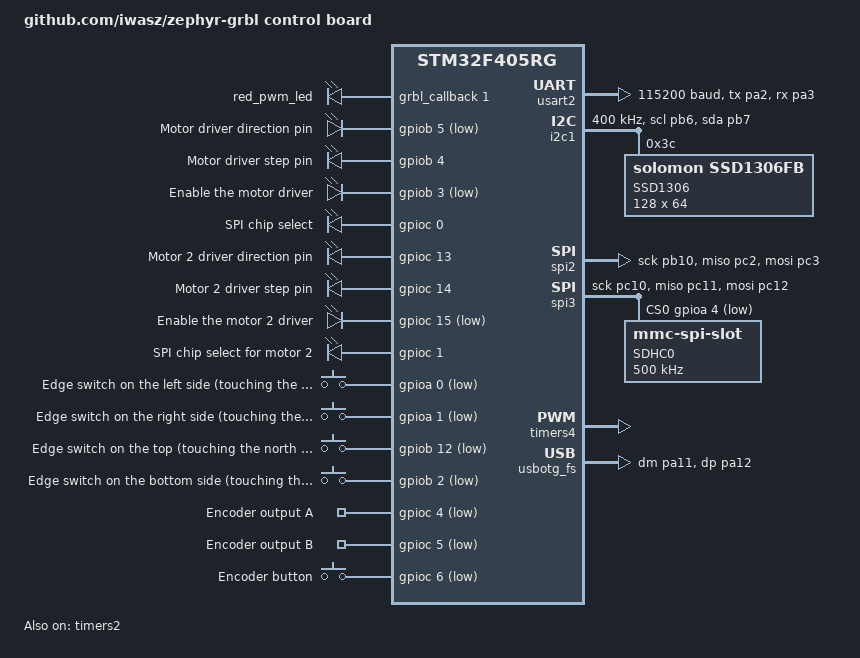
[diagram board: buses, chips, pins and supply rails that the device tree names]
/dts-v1/;
#include <st/f4/stm32f405Xg.dtsi>
#include <st/f4/stm32f405rgtx-pinctrl.dtsi>

/ {
	model = "github.com/iwasz/zephyr-grbl control board";
	compatible = "iwasz,stm32f405rg-plotter";

	chosen {
		zephyr,console = &usart2;
		zephyr,shell-uart = &usart2;
		zephyr,sram = &sram0;
		zephyr,flash = &flash0;
		zephyr,code-partition = &slot0_partition;
	};

	aliases {
		// USed for communication between GRBL and the host computer.
		grbluart = &cdc_acm;
		grblpwm =  &red_pwm_led;
		servopwm = &timer4_pwm;
		motorspi = &spi2;
		sdcardspi = &spi3;
		displayi2c = &i2c1;
	};

	pwmleds { // TODO remove this, as this is not used. PWM parametrers are set at run time using pwm_pin_set_usec (pwm, PWM_CHANNEL, PERIOD_USEC, 0, PWM_FLAGS);
		compatible = "pwm-leds";

		red_pwm_led: red_pwm_led {
			pwms = <&grbl_callback 1 4 PWM_POLARITY_NORMAL>;
		};
	};

	motor1_pins { // Motor with the shorter cable.
		compatible = "gpio-leds";

		dir {
			gpios = <&gpiob 5 GPIO_ACTIVE_LOW>;
			label = "Motor driver direction pin";
		};

		step {
			gpios = <&gpiob 4 GPIO_ACTIVE_HIGH>;
			label = "Motor driver step pin";
		};

		enable { // High state on CFG6 / EN pin turns off the curents completely. Thus Active low.
			gpios = <&gpiob 3 GPIO_ACTIVE_LOW>;
			label = "Enable the motor driver";
		};

		nss {
			gpios = <&gpioc 0 GPIO_ACTIVE_HIGH>;
			label = "SPI chip select";
		};
	};

	motor2_pins { // With the longer cable.
		compatible = "gpio-leds";

		dir { // Warning! PC13 is connected to the blue pushbutton on nucleos!
			gpios = <&gpioc 13 GPIO_ACTIVE_HIGH>;
			label = "Motor 2 driver direction pin";
		};

		step { // Warning! PC14 and PC15 are connected to the LSE crystal on nucleos.
			gpios = <&gpioc 14 GPIO_ACTIVE_HIGH>;
			// gpios = <&gpioc 11 GPIO_ACTIVE_HIGH>; // Nucleo
			label = "Motor 2 driver step pin";
		};

		enable {
			gpios = <&gpioc 15 GPIO_ACTIVE_LOW>; // Target board
			// gpios = <&gpioc 12 GPIO_ACTIVE_LOW>; // Nucleo
			label = "Enable the motor 2 driver";
		};

		nss {
			gpios = <&gpioc 1 GPIO_ACTIVE_HIGH>;
			label = "SPI chip select for motor 2";
		};
	};

	edge_switch_pins {
		compatible = "gpio-keys";

		left {
			gpios = <&gpioa 0 (GPIO_ACTIVE_LOW| GPIO_PULL_UP)>;
			label = "Edge switch on the left side (touching the west attachment)";
		};

		right {
			gpios = <&gpioa 1 (GPIO_ACTIVE_LOW| GPIO_PULL_UP)>;
			label = "Edge switch on the right side (touching the east attachment)";
		};

		top {
			gpios = <&gpiob 12 (GPIO_ACTIVE_LOW| GPIO_PULL_UP)>;
			label = "Edge switch on the top (touching the north attachment)";
		};

		bottom {
			gpios = <&gpiob 2 (GPIO_ACTIVE_LOW| GPIO_PULL_UP)>;
			label = "Edge switch on the bottom side (touching the pen holder)";
		};

		// motor1_stall { // Currently not used
			//     gpios = <&gpioc 10 (GPIO_ACTIVE_HIGH | GPIO_PULL_DOWN)>;
			//     label = "Motor 1 stall diagnostic output. Detects when the motor stalls.";
		// };

		// motor2_stall { // Currently not used
			//     gpios = <&gpioc 12 (GPIO_ACTIVE_HIGH | GPIO_PULL_DOWN)>;
			//     label = "Motor 2 stall diagnostic output. Detects when the motor stalls.";
		// };
	};


	ui_buttons {
		compatible = "gpio-keys";

		encoder_a {
			gpios = <&gpioc 4 (GPIO_ACTIVE_LOW| GPIO_PULL_UP)>;
			label = "Encoder output A";
		};

		encoder_b {
			gpios = <&gpioc 5 (GPIO_ACTIVE_LOW| GPIO_PULL_UP)>;
			label = "Encoder output B";
		};

		enter {
			gpios = <&gpioc 6 (GPIO_ACTIVE_LOW| GPIO_PULL_UP)>;
			label = "Encoder button";
		};


	};
};

&usart2 {
	pinctrl-0 = <&usart2_tx_pa2 &usart2_rx_pa3>;
	current-speed = <115200>;
	status = "okay";
};

&i2c1 {
	pinctrl-0 = <&i2c1_scl_pb6 &i2c1_sda_pb7>;
	status = "okay";
	clock-frequency = <I2C_BITRATE_FAST>;

	ssd1306@3c {
		compatible = "solomon,ssd1306fb";
		reg = <0x3c>;
		label = "SSD1306";
		width = <128>;
		height = <64>;
		segment-offset = <0>;
		page-offset = <0>;
		display-offset = <0>;
		multiplex-ratio = <63>;
		segment-remap;
		com-invdir;
		prechargep = <0x22>;
	};
};

// SPI interface for SDIO
// &spi1 {
	//     pinctrl-0 = <&spi1_sck_pa5 &spi1_miso_pa6 &spi1_mosi_pa7>;
	//     // cs-gpios = <&gpioa 4 (GPIO_ACTIVE_LOW | GPIO_PULL_UP)>;
	//     cs-gpios = <&gpioc 7 (GPIO_ACTIVE_LOW | GPIO_PULL_UP)>;
	//     // spi1_sck_pb3 spi1_miso_pb4 spi1_mosi_pb5

	//     // pinctrl-0 = <&spi1_sck_pa5 &spi1_miso_pa6 &spi1_mosi_pa7>;
	//     // cs-gpios = <&gpiob 6 (GPIO_ACTIVE_LOW | GPIO_PULL_UP)>;

	//     status = "okay";

	//     sdhc0: sdhc@0 {
		//         compatible = "zephyr,mmc-spi-slot";
		//         reg = <0>;
		//         status = "okay";
		//         label = "SDHC0";
		//         spi-max-frequency = <500000>;
	//     };
// };

// SPI interface for the motor controllers
&spi2 {
	pinctrl-0 = <&spi2_sck_pb10 &spi2_miso_pc2 &spi2_mosi_pc3>;
	status = "okay";
};

// SPI interface for the SD card
&spi3 {
	pinctrl-0 = <&spi3_sck_pc10 &spi3_miso_pc11 &spi3_mosi_pc12>;
	cs-gpios = <&gpioa 4 (GPIO_ACTIVE_LOW | GPIO_PULL_UP)>;
	status = "okay";

	sdhc0: sdhc@0 {
		compatible = "zephyr,mmc-spi-slot";
		reg = <0>;
		status = "okay";
		label = "SDHC0";
		spi-max-frequency = <500000>;
	};
};


&timers4 {
	status = "okay";

	timer4_pwm: pwm {
		status = "okay";
		st,prescaler = <40>; // When CPU@168 MHz, timer2 gets 84MHz. So tim. period is ~31ms. 1/(84MHz/40)*65535
		pinctrl-0 = <&tim4_ch3_pb8>;
	};
};

&timers2 {// Timer2 as well as timer5 are 32 bit.
	status = "okay";

	/*
	 * This node is defined as a child of timer node, becuase it references some properties
	 * of its parent. In this particular case it needs an IRQ number. Look for DT_IRQ_BY_IDX(DT_PARENT (...))
	 * in the code.
	 */
	grbl_callback: hw_timer {
		compatible = "st,stm32-hw-timer";
		status = "okay";
		st,prescaler = <10>; // 168MHz -> 84MHz to timer, prescaled by 10 == 8.4MHz. So min period == 1/8.4M, max period == (1/8.4M)*2^32
		label = "GRBL_CALLBACK";
		#pwm-cells = <3>;
	};
};

&clk_hsi {
	status = "okay";
};

&pll {
	div-m = <16>;
	mul-n = <336>;
	div-p = <2>;
	div-q = <7>;  /* 336 / 7 = 48 ! */
	clocks = <&clk_hsi>;
	status = "okay";
};

&rcc {
	clocks = <&pll>;
	clock-frequency = <DT_FREQ_M(168)>;
	ahb-prescaler = <1>;
	apb1-prescaler = <4>;
	apb2-prescaler = <2>;
};

zephyr_udc0: &usbotg_fs {
	pinctrl-0 = <&usb_otg_fs_dm_pa11 &usb_otg_fs_dp_pa12>;
	status = "okay";

	cdc_acm: mcdc_acm_uart0 {
		compatible = "zephyr,cdc-acm-uart";
		label = "CDC_ACM_0";
	};
};

&flash0 {

	partitions {
		compatible = "fixed-partitions";
		#address-cells = <1>;
		#size-cells = <1>;

		// Sectors 0 (16kB), 1 (16kB). Only 32kB for the MCUBoot
		boot_partition: partition@0 {
			label = "mcuboot";
			reg = <0x00000000 0x00008000>;
			read-only;
		};

		// Sectors 2 (16kB), 3 (16kB)
		storage_partition: partition@8000 {
			label = "storage";
			reg = <0x00008000 0x00080000>;
		};

		// Sector 4 (64kB) Free.

		// Sectors 5 (128kB), 6 (128kB) and 7 (128kB).
		slot0_partition: partition@20000 {
			label = "image-0";
			reg = <0x00020000 0x00060000>;
		};

		// Sectors 8 (128kB), 9 (128kB) and 10 (128kB).
		slot1_partition: partition@40000 {
			label = "image-1";
			reg = <0x00080000 0x00060000>;
		};

		// Sector 11(128kB) Free

		// scratch_partition: partition@60000 {
			//     label = "image-scratch";
			//     reg = <0x00080000 0x00020000>;
		// };
	};
};

&backup_sram {
	status = "okay";
};
